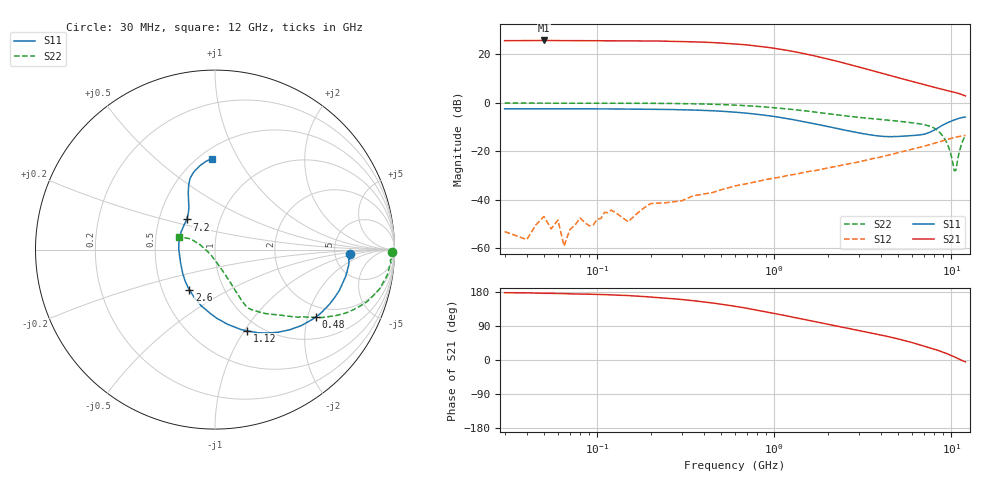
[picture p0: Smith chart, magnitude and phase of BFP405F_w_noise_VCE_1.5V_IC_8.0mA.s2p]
! Infineon Technologies  Discrete & RF Semiconductors
! BFP405F
! VCE =  1.5 V,  IC =  8.0 mA
! Common Emitter S-Parameters:  Nov 2015
# GHz  S  MA  R  50
!  f  S11  S21  S12  S22
! GHz  MAG  ANG  MAG  ANG  MAG  ANG  MAG  ANG
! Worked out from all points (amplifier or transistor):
!   239 points, 30 MHz to 12 GHz, reference 50 ohm
!   highest |S21| = 25.7 dB at 50 MHz (marker M1)
!   |S21| within 3 dB of that: start of sweep to 950.5 MHz
!   unconditionally stable (mu >= 1): 64.04 MHz to 65.22 MHz; 2.389 GHz to end of sweep
!   at 300 MHz: K = 0.14, MSG = 32.9 dB, |S12| = -40.4 dB
!   at 1.88 GHz: K = 0.85, MSG = 22.9 dB, |S12| = -27.3 dB
!   at 12 GHz: K = 1.41, MAG = 4.3 dB, |S12| = -13.5 dB
!   lowest NFmin = 1.52 dB at 450 MHz
!   S11 on the Smith chart (normalised r, x): 30 MHz: 6.94, -0.83; 480 MHz: 1.63, -2.25; 1.12 GHz: 0.87, -1.03; 2.6 GHz: 0.69, -0.33; 7.2 GHz: 0.69, +0.25; 12 GHz: 0.58, +0.79
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0.03  0.7512 -2.0  19.07 177.6  0.0022 102.7  0.984 -0.8
0.04  0.7516 -2.8  19.12 177.2  0.0015 89.6  0.9832 -1.0
0.05  0.7524 -3.9  19.29 176.1  0.0045 90.0  0.9875 -1.4
0.06  0.747 -4.4  19.11 175.6  0.0038 -17.7  0.9781 -1.6
0.065  0.7484 -4.8  19.12 175.0  0.0011 17.5  0.9801 -1.9
0.085  0.7496 -6.3  19.07 173.8  0.0034 90.4  0.9845 -2.7
0.12  0.7455 -8.9  18.98 171.9  0.0061 69.3  0.9812 -3.9
0.145  0.7438 -10.8  19.02 170.4  0.0038 84.7  0.9805 -4.8
0.24  0.7301 -17.6  18.65 163.6  0.0086 82.1  0.9708 -8.2
0.36  0.7049 -26.0  18.01 155.8  0.0123 80.9  0.9497 -12.0
0.48  0.6757 -33.8  17.23 148.5  0.0152 76.2  0.9241 -15.6
0.6  0.6405 -41.4  16.34 141.6  0.0192 72.2  0.8959 -18.8
0.9  0.5488 -57.9  14.05 127.0  0.0261 68.8  0.8161 -25.4
1.12  0.4875 -68.3  12.45 118.4  0.03 66.3  0.7602 -29.1
1.64  0.3768 -89.7  9.503 102.7  0.039 63.3  0.6537 -35.2
2.08  0.3145 -105.7  7.772 92.8  0.0463 61.8  0.5866 -39.7
2.6  0.265 -122.5  6.288 83.7  0.0545 60.6  0.5303 -43.9
4.5  0.2008 -172.1  3.652 60.7  0.0846 55.3  0.4356 -53.6
7.2  0.2305 133.1  2.298 35.2  0.1304 45.6  0.3456 -61.6
9.2  0.3653 113.9  1.836 18.7  0.1689 36.0  0.1757 -66.2
10.4  0.443 106.1  1.649 8.3  0.1922 28.9  0.0393 -119.1
12  0.5062 91.7  1.384 -4.9  0.2125 20.0  0.2121 160.8
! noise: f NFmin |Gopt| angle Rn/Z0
0.45  1.52  0.27  6  0.33
0.9  1.54  0.24  12  0.32
1.5  1.6  0.23  17  0.29
1.9  1.63  0.21  23  0.3
2.4  1.77  0.2  31  0.33
3  1.84  0.18  45  0.31
3.5  1.9  0.16  52  0.3
4.5  2.05  0.13  55  0.2
5.5  2.24  0.07  59  0.06
